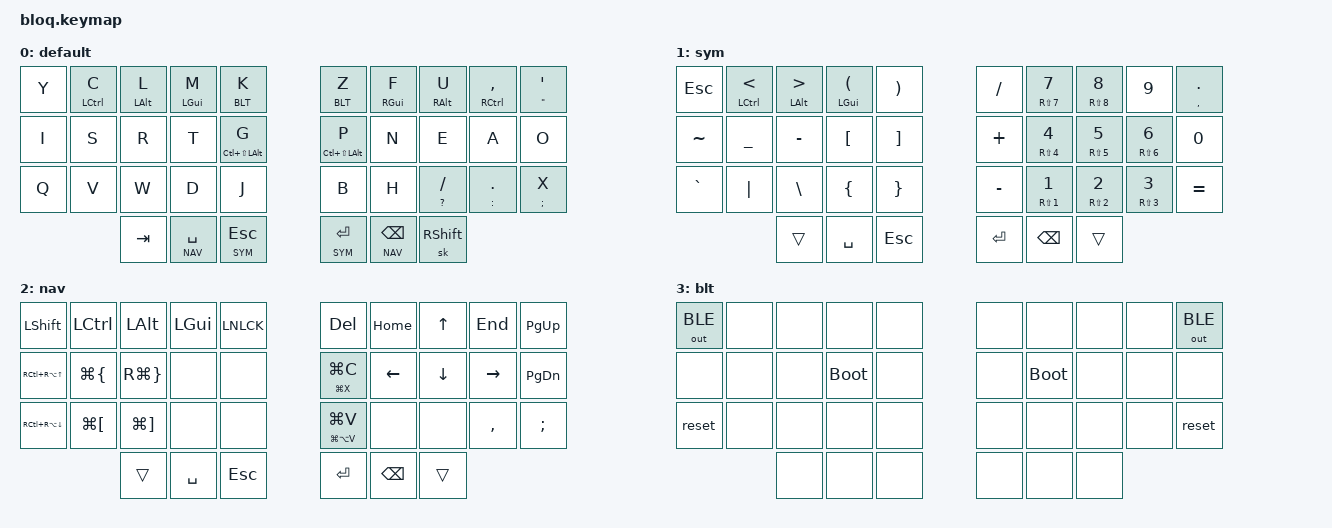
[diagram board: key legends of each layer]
#include <behaviors.dtsi>
#include <dt-bindings/zmk/keys.h>
#include <dt-bindings/zmk/bt.h>
#include <dt-bindings/zmk/outputs.h>

&mt {
    tapping-term-ms = <250>;
    flavor = "tap-preferred";
};
&sk {
    release-after-ms = <2000>;
    quick-release;
};
&caps_word {
    continue-list = <UNDERSCORE BACKSPACE DELETE MINUS>;
};

/* Layers */
#define DEF 0
#define SYM 1
#define NAV 2	
#define BLT 3
/ { 
    combos {
        compatible = "zmk,combos";
        combo_caps {
            timeout-ms = <100>;
            key-positions = <4 5>;
            bindings = <&caps_word>;
        };
        combo_repeat  {
            timeout-ms = <100>;
            key-positions = <14 15>;
            bindings = <&key_repeat>;
            layers = <DEF>;
        };
        combo_colon  {
            timeout-ms = <100>;
            key-positions = <28 29>;
            bindings = <&kp COLON>;
            layers = <DEF>;
        };
        combo_NAV  {
            timeout-ms = <100>;
            key-positions = <10 11 12 13>;
            bindings = <&kp SEMI>;
            layers = <DEF>;
        };
    };

    // The hold-trigger-key-positions are mirrored so that the hand that is not
    // responsible for a layer can be used (w/o delay) in said layer.

    behaviors {
        m_l: mods_left {
            compatible = "zmk,behavior-hold-tap";
            label = "MODS_L";
            #binding-cells = <2>;
            tapping-term-ms = <300>;
            quick-tap-ms = <250>;
            flavor = "tap-preferred";
            bindings = <&kp>, <&kp>;
            hold-trigger-key-positions = <5 6 7 8 9 15 16 17 18 19 25 26 27 28 29 30 31 32 33 34 35>; // right hand and both thumb clusters
        };
        m_r: mods_right {
            compatible = "zmk,behavior-hold-tap";
            label = "MODS_R";
            #binding-cells = <2>;
            tapping-term-ms = <300>;
            quick-tap-ms = <250>;
            flavor = "tap-preferred";
            bindings = <&kp>, <&kp>;
            hold-trigger-key-positions = <0 1 2 3 4 10 11 12 13 14 20 21 22 23 24 30 31 32 33 34 35>; // left hand and both thumb clusters
        };
        l_l: layers_left {
            compatible = "zmk,behavior-hold-tap";
            label = "LAYERS_L";
            #binding-cells = <2>;
            tapping-term-ms = <220>;
            quick-tap-ms = <250>;
            flavor = "tap-preferred";
            bindings = <&mo>, <&kp>;
            hold-trigger-key-positions = <5 6 7 8 9 15 16 17 18 19 25 26 27 28 29 30 31 32 33 34 35>; // right hand and both thumb clusters
        };
        l_r: layers_right {
            compatible = "zmk,behavior-hold-tap";
            label = "LAYERS_R";
            #binding-cells = <2>;
            tapping-term-ms = <220>;
            quick-tap-ms = <250>;
            flavor = "tap-preferred";
            bindings = <&mo>, <&kp>;
            hold-trigger-key-positions = <0 1 2 3 4 10 11 12 13 14 20 21 22 23 24 30 31 32 33 34 35>; // left hand and both thumb clusters
        };
        shftrep: shft_rep {
             compatible = "zmk,behavior-hold-tap";
             label = "SHFT_REP";
             #binding-cells = <2>;
             flavor = "hold-preferred";
             tapping-term-ms = <300>;
             quick-tap-ms = <250>;
             bindings = <&kp>, <&key_repeat>;
        };
        td: tapdance {
            compatible = "zmk,behavior-hold-tap";
            label = "TAPDANCE";
            #binding-cells = <2>;
            tapping-term-ms = <190>;
            quick-tap-ms = <250>;
            flavor = "tap-preferred";
            bindings = <&kp>, <&kp>;
        };
    };

    //      00  01  02  03  04      05  06  07  08  09
    //      10  11  12  13  14      15  16  17  18  19
    //      20  21  22  23  24      25  26  27  28  29
    //              30  31  32      33  34  35

    keymap {
        compatible = "zmk,keymap";

        default {
            bindings = <
            &kp Y     &m_l LCTL C   &m_l LALT L   &m_l LGUI M   &l_l BLT K              &l_r BLT Z           &m_r RGUI F      &m_r RALT U     &m_r RCTL COMMA   &td DQT SQT
            &kp I     &kp S         &kp R         &kp T         &mt LC(LS(LALT)) G      &mt LC(LS(LALT)) P   &kp N            &kp E           &kp A        &kp O
            &kp Q     &kp V         &kp W         &kp D         &kp J                   &kp B   &kp H        &td QMARK FSLH   &td COLON DOT   &td SEMI X
            &kp TAB   &l_l NAV SPC   &l_l SYM ESC                                       &l_r SYM RET   &l_r NAV BSPC   &sk RSHFT
            >;
        };

        sym {
            bindings = <
            &kp ESC     &m_l LCTL LT   &m_l LALT GT   &m_l LGUI LPAR   &kp RPAR      &kp FSLH    &td RS(N7) N7   &td RS(N8) N8   &kp N9          &td COMMA DOT
            &kp TILDE   &kp UNDER      &kp MINUS      &kp LBKT         &kp RBKT      &kp PLUS    &td RS(N4) N4   &td RS(N5) N5   &td RS(N6) N6   &kp N0
            &kp GRAVE   &kp PIPE       &kp BSLH       &kp LBRC         &kp RBRC      &kp MINUS   &td RS(N1) N1   &td RS(N2) N2   &td RS(N3) N3   &kp EQUAL
            &trans   &kp SPC   &kp ESC                                               &kp RET   &kp BSPC   &trans
            >;
        };

        nav {
            bindings = <
            &kp LSHFT          &kp LCTL       &kp LALT       &kp LGUI   &kp LNLCK      &kp DEL               &kp HOME   &kp UP     &kp END     &kp PG_UP
            &kp RC(RA(UP))     &kp LG(LBRC)   &kp RG(RBRC)   &none      &none          &td LG(X) LG(C)       &kp LEFT   &kp DOWN   &kp RIGHT   &kp PG_DN
            &kp RC(RA(DOWN))   &kp LG(LBKT)   &kp LG(RBKT)   &none      &none          &td LG(LA(V)) LG(V)   &none      &none      &kp COMMA   &kp SEMI
            &trans   &kp SPC   &kp ESC                                                 &kp RET   &kp BSPC   &trans
            >;
        };

        blt {
            bindings = <
            &out OUT_BLE   &none   &none   &none         &none      &none   &none         &none   &none   &out OUT_BLE
            &none          &none   &none   &bootloader   &none      &none   &bootloader   &none   &none   &none
            &reset         &none   &none   &none         &none      &none   &none         &none   &none   &reset
            &none   &none   &none                                   &none   &none   &none
            >;
        };

    };
};
